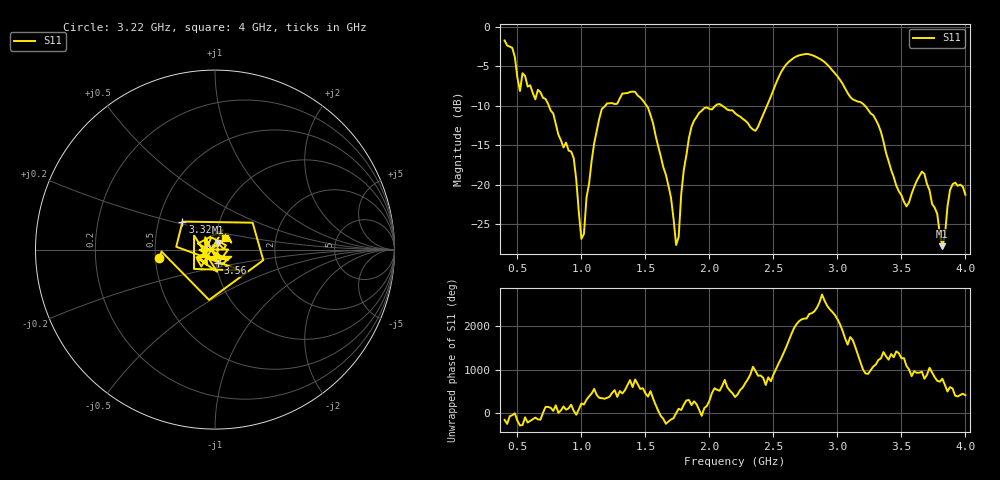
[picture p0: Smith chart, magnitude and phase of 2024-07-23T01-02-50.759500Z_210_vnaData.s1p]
!Created with skrf (http://scikit-rf.org).
# Hz S RI R 50.0
!freq ReS11 ImS11
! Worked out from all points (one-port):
!   181 points, 400 MHz to 4 GHz, reference 50 ohm
!   lowest |S11| = -27.8 dB at 3.82 GHz (marker M1), VSWR 1.09, Z = 51.3 + j3.94 ohm
!   |S11| at or under -10 dB: 745.5 MHz to 1.186 GHz (440.6 MHz wide, 45.6 % of centre); 1.51 GHz to 2.048 GHz (538.4 MHz wide, 30.3 % of centre); 3.215 GHz to end of sweep (the widest 3 of 4)
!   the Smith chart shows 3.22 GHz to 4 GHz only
!   S11 on the Smith chart (normalised r, x): 3.22 GHz: 0.52, -0.05; 3.32 GHz: 0.66, +0.22; 3.56 GHz: 1.02, -0.16; 4 GHz: 1.11, +0.15
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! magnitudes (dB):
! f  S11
! 400 MHz  -1.7
! 460 MHz  -2.7
! 520 MHz  -8.1
! 540 MHz  -5.9
! 680 MHz  -8.3
! 860 MHz  -15.3
! 940 MHz  -16.6
! 1 GHz  -26.8
! 1.16 GHz  -10.4
! 1.3 GHz  -9.1
! 1.52 GHz  -10.2
! 1.7 GHz  -21.6
! 1.74 GHz  -27.6
! 1.76 GHz  -26.6
! 1.8 GHz  -18.1
! 1.88 GHz  -11.9
! 2.2 GHz  -10.9
! 2.36 GHz  -13.2
! 2.66 GHz  -3.9
! 2.88 GHz  -4.2
! 3.1 GHz  -8.9
! 3.22 GHz  -10.1
! 3.32 GHz  -12.4
! 3.56 GHz  -22.2
! 3.68 GHz  -18.6
! 3.82 GHz  -27.8
! 3.9 GHz  -19.9
! 4 GHz  -21.3
